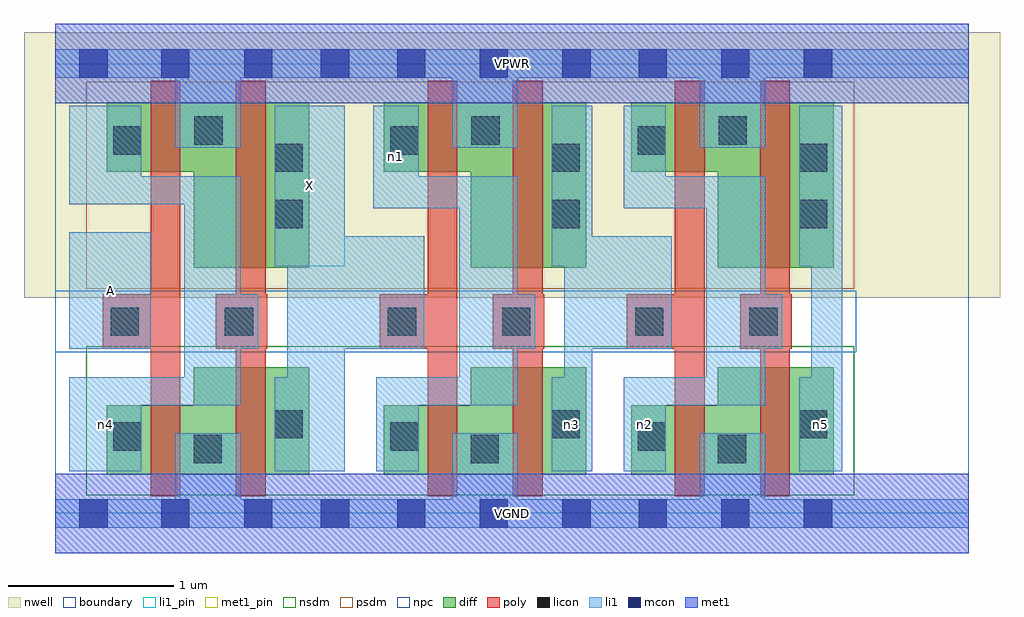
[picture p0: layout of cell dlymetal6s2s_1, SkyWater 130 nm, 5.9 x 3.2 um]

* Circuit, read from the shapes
.subckt dlymetal6s2s_1 A VGND VPWR X n1 n2 n3 n4 n5
XM1 VGND A n4 VSUBS sky130_fd_pr__nfet_01v8 w=0.42 l=0.18
XM2 X n4 VGND VSUBS sky130_fd_pr__nfet_01v8 w=0.65 l=0.18
XM3 VGND X n1 VSUBS sky130_fd_pr__nfet_01v8 w=0.42 l=0.18
XM4 n3 n1 VGND VSUBS sky130_fd_pr__nfet_01v8 w=0.65 l=0.18
XM5 VGND n3 n2 VSUBS sky130_fd_pr__nfet_01v8 w=0.42 l=0.18
XM6 n5 n2 VGND VSUBS sky130_fd_pr__nfet_01v8 w=0.65 l=0.18
XM7 VPWR A n4 n6 sky130_fd_pr__pfet_01v8 w=0.42 l=0.18
XM8 X n4 VPWR n6 sky130_fd_pr__pfet_01v8 w=1 l=0.18
XM9 VPWR X n1 n6 sky130_fd_pr__pfet_01v8 w=0.42 l=0.18
XM10 n3 n1 VPWR n6 sky130_fd_pr__pfet_01v8 w=1 l=0.18
XM11 VPWR n3 n2 n6 sky130_fd_pr__pfet_01v8 w=0.42 l=0.18
XM12 n5 n2 VPWR n6 sky130_fd_pr__pfet_01v8 w=1 l=0.18
.ends

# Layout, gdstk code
import gdstk
lib = gdstk.Library(unit=1e-6, precision=1e-09)
def R(c, l, rs):  # rectangles x0, y0, x1, y1
    for r in rs: c.add(gdstk.rectangle(r[:2], r[2:], *l))
def A(c, l, x, y, w, h, nx, ny, dx, dy):  # array of equal rectangles
    R(c, l, [(x+i*dx, y+j*dy, x+i*dx+w, y+j*dy+h) for i in range(nx) for j in range(ny)])
nwell = (64, 20)
diff = (65, 20)
poly = (66, 20)
licon = (66, 44)
li1_pin = (67, 16)
li1 = (67, 20)
mcon = (67, 44)
met1_pin = (68, 16)
met1 = (68, 20)
nsdm = (93, 44)
psdm = (94, 20)
npc = (95, 20)
boundary = (235, 4)

dlymetal6s2s_1 = lib.new_cell('dlymetal6s2s_1')
R(dlymetal6s2s_1, nwell, [(-0.19,1.305,5.71,2.91), (0,1.305,5.52,2.91)])
R(dlymetal6s2s_1, diff, [(0.31,0.235,1.535,0.655), (0.835,0.235,1.535,0.885), (1.985,0.235,3.21,0.655), (2.51,0.235,3.21,0.885), (3.48,0.235,4.705,0.655), (4.005,0.235,4.705,0.885), (0.835,1.485,1.535,2.485), (2.51,1.485,3.21,2.485), (4.005,1.485,4.705,2.485), (0.31,2.065,1.535,2.485), (1.985,2.065,3.21,2.485), (3.48,2.065,4.705,2.485)])
R(dlymetal6s2s_1, poly, [(0.575,0.105,0.755,2.615), (1.09,0.105,1.27,2.615), (2.25,0.105,2.43,2.615), (2.765,0.105,2.945,2.615), (3.745,0.105,3.925,2.615), (4.26,0.105,4.44,2.615), (0.285,0.995,0.755,1.325), (0.97,0.995,1.28,1.325), (1.96,0.995,2.43,1.325), (2.645,0.995,2.955,1.325), (3.455,0.995,3.925,1.325), (4.14,0.995,4.45,1.325)])
R(dlymetal6s2s_1, licon, [(0.835,0.305,1.005,0.475), (2.51,0.305,2.68,0.475), (4.005,0.305,4.175,0.475), (0.35,0.38,0.52,0.55), (2.025,0.38,2.195,0.55), (3.52,0.38,3.69,0.55), (1.325,0.455,1.495,0.625), (3,0.455,3.17,0.625), (4.495,0.455,4.665,0.625), (0.335,1.075,0.505,1.245), (1.025,1.075,1.195,1.245), (2.01,1.075,2.18,1.245), (2.7,1.075,2.87,1.245), (3.505,1.075,3.675,1.245), (4.195,1.075,4.365,1.245), (1.325,1.725,1.495,1.895), (3,1.725,3.17,1.895), (4.495,1.725,4.665,1.895), (1.325,2.065,1.495,2.235), (3,2.065,3.17,2.235), (4.495,2.065,4.665,2.235), (0.35,2.17,0.52,2.34), (2.025,2.17,2.195,2.34), (3.52,2.17,3.69,2.34), (0.84,2.23,1.01,2.4), (2.515,2.23,2.685,2.4), (4.01,2.23,4.18,2.4)])
R(dlymetal6s2s_1, li1_pin, [(0.085,0.995,0.575,1.7), (1.325,1.495,1.75,2.465)])
R(dlymetal6s2s_1, li1, [(0,-0.085,5.52,0.085), (0.725,-0.085,1.12,0.485), (2.4,-0.085,2.795,0.485), (3.895,-0.085,4.29,0.485), (0.085,0.255,0.52,0.825), (1.325,0.255,1.75,0.825), (1.4,0.255,1.75,2.465), (1.94,0.255,2.195,0.825), (3,0.255,3.245,0.825), (3.075,0.255,3.245,2.465), (3.435,0.255,3.69,0.825), (4.495,0.255,4.755,0.825), (4.57,0.255,4.755,2.465), (0.085,0.655,1.12,0.825), (0.78,0.655,1.12,2.04), (1.94,0.655,2.795,0.825), (2.44,0.655,2.795,2.04), (3.435,0.655,4.29,0.825), (3.935,0.655,4.29,2.04), (0.085,0.995,0.575,1.7), (0.78,0.995,1.225,1.325), (1.4,0.995,2.23,1.675), (2.44,0.995,2.9,1.325), (3.075,0.995,3.725,1.675), (3.935,0.995,4.395,1.325), (1.325,1.495,1.75,2.465), (3,1.495,3.245,2.465), (4.495,1.495,4.755,2.465), (1.92,1.845,2.195,2.465), (1.92,1.845,2.795,2.04), (3.435,1.845,3.69,2.465), (3.435,1.845,4.29,2.04), (0.085,1.87,1.12,2.04), (0.085,1.87,0.52,2.465), (0.725,2.21,1.12,2.805), (2.4,2.21,2.795,2.805), (3.895,2.21,4.29,2.805), (0,2.635,5.52,2.805)])
A(dlymetal6s2s_1, mcon, 2.065, -0.085, 0.17, 0.17, 3, 2, 0.5, 2.72)
A(dlymetal6s2s_1, mcon, 3.525, -0.085, 0.17, 0.17, 3, 2, 0.5, 2.72)
R(dlymetal6s2s_1, mcon, [(0.145,-0.085,0.315,0.085), (0.64,-0.085,0.81,0.085), (1.14,-0.085,1.31,0.085), (1.605,-0.085,1.775,0.085), (0.145,2.635,0.315,2.805), (0.64,2.635,0.81,2.805), (1.14,2.635,1.31,2.805), (1.605,2.635,1.775,2.805)])
R(dlymetal6s2s_1, met1_pin, [(0,-0.24,5.52,0.24), (0,2.48,5.52,2.96)])
R(dlymetal6s2s_1, met1, [(0,-0.24,5.52,0.24), (0,2.48,5.52,2.96)])
R(dlymetal6s2s_1, nsdm, [(0.185,0.11,4.83,1.01)])
R(dlymetal6s2s_1, psdm, [(0.185,1.36,4.83,2.61)])
R(dlymetal6s2s_1, npc, [(0,0.975,4.84,1.345)])
R(dlymetal6s2s_1, boundary, [(0,0,5.52,2.72)])
dlymetal6s2s_1.add(gdstk.Label('A', (0.33,1.347), layer=67, texttype=5))
dlymetal6s2s_1.add(gdstk.Label('X', (1.537,1.98), layer=67, texttype=5))
dlymetal6s2s_1.add(gdstk.Label('n4', (0.302,0.54), layer=67, texttype=5))
dlymetal6s2s_1.add(gdstk.Label('n1', (2.057,2.155), layer=67, texttype=5))
dlymetal6s2s_1.add(gdstk.Label('n3', (3.122,0.54), layer=67, texttype=5))
dlymetal6s2s_1.add(gdstk.Label('n2', (3.562,0.54), layer=67, texttype=5))
dlymetal6s2s_1.add(gdstk.Label('n5', (4.625,0.54), layer=67, texttype=5))
dlymetal6s2s_1.add(gdstk.Label('VPWR', (2.76,2.72), layer=68, texttype=5))
dlymetal6s2s_1.add(gdstk.Label('VGND', (2.76,0), layer=68, texttype=5))
dlymetal6s2s_1.add(gdstk.Label('A', (0.33,1.347), layer=67, texttype=16))
dlymetal6s2s_1.add(gdstk.Label('X', (1.537,1.98), layer=67, texttype=16))
dlymetal6s2s_1.add(gdstk.Label('VPWR', (2.76,2.72), layer=68, texttype=16))
dlymetal6s2s_1.add(gdstk.Label('VGND', (2.76,0), layer=68, texttype=16))

lib.write_gds('dlymetal6s2s_1.gds')
